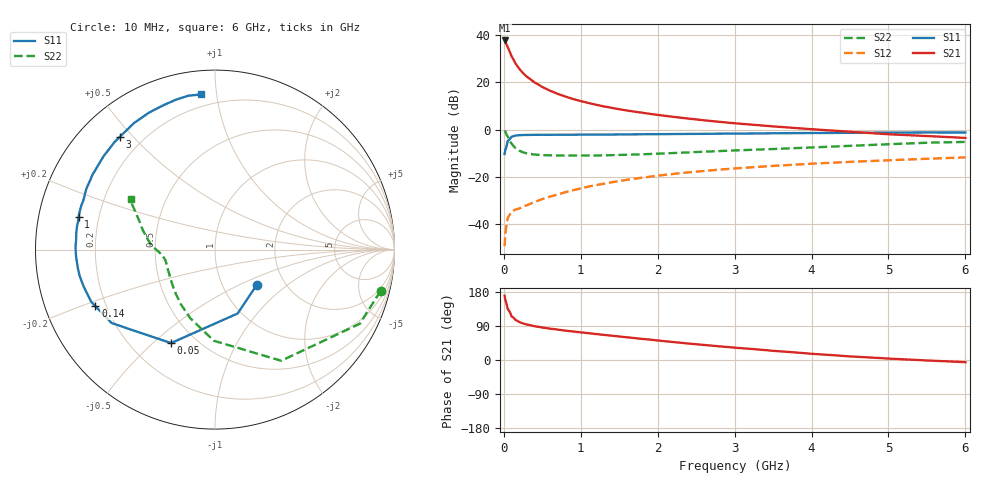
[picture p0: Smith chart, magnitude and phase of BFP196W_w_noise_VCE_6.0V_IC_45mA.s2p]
! Infineon Technologies  Discrete & RF Semiconductors
! BFP196W
! VCE =  6.0 V,  IC =  45 mA
! Common Emitter S-Parameters:  Jan 2017
# GHz  S  MA  R  50
!  f  S11  S21  S12  S22
! GHz  MAG  ANG  MAG  ANG  MAG  ANG  MAG  ANG
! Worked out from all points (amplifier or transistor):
!   77 points, 10 MHz to 6 GHz, reference 50 ohm
!   highest |S21| = 37.8 dB at 10 MHz (marker M1)
!   |S21| within 3 dB of that: start of sweep to 53.2 MHz
!   unconditionally stable (mu >= 1): 700.5 MHz to 3.246 GHz
!   at 130 MHz: K = 0.39, MSG = 31.8 dB, |S12| = -34.2 dB
!   at 2.2 GHz: K = 1.04, MAG = 10.9 dB, |S12| = -18.8 dB
!   at 6 GHz: K = 0.93, MSG = 4.1 dB, |S12| = -11.8 dB
!   lowest NFmin = 1.31 dB at 450 MHz
!   S11 on the Smith chart (normalised r, x): 10 MHz: 1.45, -0.62; 50 MHz: 0.37, -0.57; 140 MHz: 0.16, -0.22; 1 GHz: 0.12, +0.12; 3 GHz: 0.12, +0.46; 6 GHz: 0.13, +0.91
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0.01  0.3045 -39.8  77.22 169.4  0.0034 77.9  0.951 -14.0
0.02  0.3777 -70.5  72.99 158.5  0.0064 71.1  0.9065 -27.1
0.05  0.5757 -115.2  56.12 135.0  0.0133 53.2  0.7209 -59.2
0.1  0.7063 -144.6  35.75 115.3  0.0182 44.0  0.5077 -90.8
0.14  0.7371 -154.6  27.37 108.5  0.0198 40.8  0.4221 -105.4
0.15  0.7482 -157.0  25.36 106.1  0.0202 40.1  0.406 -109.9
0.2  0.7599 -164.2  19.44 100.4  0.0213 41.9  0.3585 -122.2
0.25  0.7683 -169.0  15.7 96.4  0.0233 43.9  0.3303 -131.2
0.3  0.7713 -172.4  13.15 93.5  0.0251 45.5  0.3132 -137.8
0.4  0.7753 -177.4  9.961 89.1  0.0292 50.0  0.2964 -146.8
0.5  0.7773 178.9  7.978 85.7  0.0338 53.3  0.2881 -152.7
0.6  0.7759 175.9  6.67 82.7  0.0381 55.7  0.2854 -156.9
0.8  0.7796 170.6  5.01 77.5  0.0473 60.5  0.2814 -162.2
1  0.782 166.4  4.017 72.9  0.0567 61.0  0.2821 -166.0
1.1  0.7831 164.1  3.66 70.8  0.0622 61.3  0.2827 -167.1
1.5  0.7894 156.3  2.697 62.0  0.0815 60.7  0.2907 -172.0
2.1  0.802 144.9  1.954 49.5  0.1104 57.2  0.3137 -177.7
3  0.8223 130.1  1.362 32.5  0.1502 49.9  0.3619 174.6
3.1  0.8241 128.6  1.321 31.0  0.1542 49.0  0.3669 173.6
4.1  0.8478 114.4  0.995 15.1  0.1929 40.9  0.425 163.4
5.1  0.8641 103.6  0.783 2.8  0.2273 33.0  0.4975 153.9
6  0.8681 95.1  0.667 -5.8  0.258 26.0  0.549 148.9
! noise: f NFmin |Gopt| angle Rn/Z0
0.45  1.31  0.5  -177  0.05
0.9  1.44  0.54  -172  0.07
1.9  2.26  0.69  -150  0.15
2.4  2.66  0.73  -145  0.25
